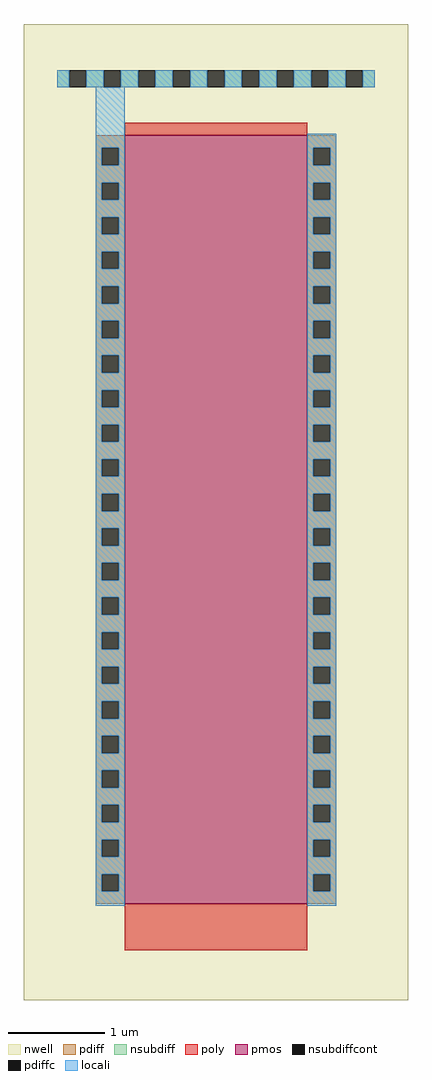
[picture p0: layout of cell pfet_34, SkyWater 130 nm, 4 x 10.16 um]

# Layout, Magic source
magic
tech sky130A
<< nwell >>
rect 0 0 400 1016
<< pmos >>
rect 105 100 295 900
<< pdiff >>
rect 75 887 105 900
rect 75 869 81 887
rect 99 869 105 887
rect 75 851 105 869
rect 75 833 81 851
rect 99 833 105 851
rect 75 815 105 833
rect 75 797 81 815
rect 99 797 105 815
rect 75 779 105 797
rect 75 761 81 779
rect 99 761 105 779
rect 75 743 105 761
rect 75 725 81 743
rect 99 725 105 743
rect 75 707 105 725
rect 75 689 81 707
rect 99 689 105 707
rect 75 671 105 689
rect 75 653 81 671
rect 99 653 105 671
rect 75 635 105 653
rect 75 617 81 635
rect 99 617 105 635
rect 75 599 105 617
rect 75 581 81 599
rect 99 581 105 599
rect 75 563 105 581
rect 75 545 81 563
rect 99 545 105 563
rect 75 527 105 545
rect 75 509 81 527
rect 99 509 105 527
rect 75 491 105 509
rect 75 473 81 491
rect 99 473 105 491
rect 75 455 105 473
rect 75 437 81 455
rect 99 437 105 455
rect 75 419 105 437
rect 75 401 81 419
rect 99 401 105 419
rect 75 383 105 401
rect 75 365 81 383
rect 99 365 105 383
rect 75 347 105 365
rect 75 329 81 347
rect 99 329 105 347
rect 75 311 105 329
rect 75 293 81 311
rect 99 293 105 311
rect 75 275 105 293
rect 75 257 81 275
rect 99 257 105 275
rect 75 239 105 257
rect 75 221 81 239
rect 99 221 105 239
rect 75 203 105 221
rect 75 185 81 203
rect 99 185 105 203
rect 75 167 105 185
rect 75 149 81 167
rect 99 149 105 167
rect 75 131 105 149
rect 75 113 81 131
rect 99 113 105 131
rect 75 100 105 113
rect 295 887 325 900
rect 295 869 301 887
rect 319 869 325 887
rect 295 851 325 869
rect 295 833 301 851
rect 319 833 325 851
rect 295 815 325 833
rect 295 797 301 815
rect 319 797 325 815
rect 295 779 325 797
rect 295 761 301 779
rect 319 761 325 779
rect 295 743 325 761
rect 295 725 301 743
rect 319 725 325 743
rect 295 707 325 725
rect 295 689 301 707
rect 319 689 325 707
rect 295 671 325 689
rect 295 653 301 671
rect 319 653 325 671
rect 295 635 325 653
rect 295 617 301 635
rect 319 617 325 635
rect 295 599 325 617
rect 295 581 301 599
rect 319 581 325 599
rect 295 563 325 581
rect 295 545 301 563
rect 319 545 325 563
rect 295 527 325 545
rect 295 509 301 527
rect 319 509 325 527
rect 295 491 325 509
rect 295 473 301 491
rect 319 473 325 491
rect 295 455 325 473
rect 295 437 301 455
rect 319 437 325 455
rect 295 419 325 437
rect 295 401 301 419
rect 319 401 325 419
rect 295 383 325 401
rect 295 365 301 383
rect 319 365 325 383
rect 295 347 325 365
rect 295 329 301 347
rect 319 329 325 347
rect 295 311 325 329
rect 295 293 301 311
rect 319 293 325 311
rect 295 275 325 293
rect 295 257 301 275
rect 319 257 325 275
rect 295 239 325 257
rect 295 221 301 239
rect 319 221 325 239
rect 295 203 325 221
rect 295 185 301 203
rect 319 185 325 203
rect 295 167 325 185
rect 295 149 301 167
rect 319 149 325 167
rect 295 131 325 149
rect 295 113 301 131
rect 319 113 325 131
rect 295 100 325 113
<< pdiffc >>
rect 81 869 99 887
rect 81 833 99 851
rect 81 797 99 815
rect 81 761 99 779
rect 81 725 99 743
rect 81 689 99 707
rect 81 653 99 671
rect 81 617 99 635
rect 81 581 99 599
rect 81 545 99 563
rect 81 509 99 527
rect 81 473 99 491
rect 81 437 99 455
rect 81 401 99 419
rect 81 365 99 383
rect 81 329 99 347
rect 81 293 99 311
rect 81 257 99 275
rect 81 221 99 239
rect 81 185 99 203
rect 81 149 99 167
rect 81 113 99 131
rect 301 869 319 887
rect 301 833 319 851
rect 301 797 319 815
rect 301 761 319 779
rect 301 725 319 743
rect 301 689 319 707
rect 301 653 319 671
rect 301 617 319 635
rect 301 581 319 599
rect 301 545 319 563
rect 301 509 319 527
rect 301 473 319 491
rect 301 437 319 455
rect 301 401 319 419
rect 301 365 319 383
rect 301 329 319 347
rect 301 293 319 311
rect 301 257 319 275
rect 301 221 319 239
rect 301 185 319 203
rect 301 149 319 167
rect 301 113 319 131
<< nsubdiff >>
rect 35 950 47 968
rect 65 950 83 968
rect 101 950 119 968
rect 137 950 155 968
rect 173 950 191 968
rect 209 950 227 968
rect 245 950 263 968
rect 281 950 299 968
rect 317 950 335 968
rect 353 950 365 968
<< nsubdiffcont >>
rect 47 950 65 968
rect 83 950 101 968
rect 119 950 137 968
rect 155 950 173 968
rect 191 950 209 968
rect 227 950 245 968
rect 263 950 281 968
rect 299 950 317 968
rect 335 950 353 968
<< poly >>
rect 105 900 295 913
rect 105 52 295 100
<< locali >>
rect 35 950 47 968
rect 65 950 83 968
rect 101 950 119 968
rect 137 950 155 968
rect 173 950 191 968
rect 209 950 227 968
rect 245 950 263 968
rect 281 950 299 968
rect 317 950 335 968
rect 353 950 365 968
rect 75 887 105 950
rect 75 869 81 887
rect 99 869 105 887
rect 75 851 105 869
rect 75 833 81 851
rect 99 833 105 851
rect 75 815 105 833
rect 75 797 81 815
rect 99 797 105 815
rect 75 779 105 797
rect 75 761 81 779
rect 99 761 105 779
rect 75 743 105 761
rect 75 725 81 743
rect 99 725 105 743
rect 75 707 105 725
rect 75 689 81 707
rect 99 689 105 707
rect 75 671 105 689
rect 75 653 81 671
rect 99 653 105 671
rect 75 635 105 653
rect 75 617 81 635
rect 99 617 105 635
rect 75 599 105 617
rect 75 581 81 599
rect 99 581 105 599
rect 75 563 105 581
rect 75 545 81 563
rect 99 545 105 563
rect 75 527 105 545
rect 75 509 81 527
rect 99 509 105 527
rect 75 491 105 509
rect 75 473 81 491
rect 99 473 105 491
rect 75 455 105 473
rect 75 437 81 455
rect 99 437 105 455
rect 75 419 105 437
rect 75 401 81 419
rect 99 401 105 419
rect 75 383 105 401
rect 75 365 81 383
rect 99 365 105 383
rect 75 347 105 365
rect 75 329 81 347
rect 99 329 105 347
rect 75 311 105 329
rect 75 293 81 311
rect 99 293 105 311
rect 75 275 105 293
rect 75 257 81 275
rect 99 257 105 275
rect 75 239 105 257
rect 75 221 81 239
rect 99 221 105 239
rect 75 203 105 221
rect 75 185 81 203
rect 99 185 105 203
rect 75 167 105 185
rect 75 149 81 167
rect 99 149 105 167
rect 75 131 105 149
rect 75 113 81 131
rect 99 113 105 131
rect 75 98 105 113
rect 295 887 325 902
rect 295 869 301 887
rect 319 869 325 887
rect 295 851 325 869
rect 295 833 301 851
rect 319 833 325 851
rect 295 815 325 833
rect 295 797 301 815
rect 319 797 325 815
rect 295 779 325 797
rect 295 761 301 779
rect 319 761 325 779
rect 295 743 325 761
rect 295 725 301 743
rect 319 725 325 743
rect 295 707 325 725
rect 295 689 301 707
rect 319 689 325 707
rect 295 671 325 689
rect 295 653 301 671
rect 319 653 325 671
rect 295 635 325 653
rect 295 617 301 635
rect 319 617 325 635
rect 295 599 325 617
rect 295 581 301 599
rect 319 581 325 599
rect 295 563 325 581
rect 295 545 301 563
rect 319 545 325 563
rect 295 527 325 545
rect 295 509 301 527
rect 319 509 325 527
rect 295 491 325 509
rect 295 473 301 491
rect 319 473 325 491
rect 295 455 325 473
rect 295 437 301 455
rect 319 437 325 455
rect 295 419 325 437
rect 295 401 301 419
rect 319 401 325 419
rect 295 383 325 401
rect 295 365 301 383
rect 319 365 325 383
rect 295 347 325 365
rect 295 329 301 347
rect 319 329 325 347
rect 295 311 325 329
rect 295 293 301 311
rect 319 293 325 311
rect 295 275 325 293
rect 295 257 301 275
rect 319 257 325 275
rect 295 239 325 257
rect 295 221 301 239
rect 319 221 325 239
rect 295 203 325 221
rect 295 185 301 203
rect 319 185 325 203
rect 295 167 325 185
rect 295 149 301 167
rect 319 149 325 167
rect 295 131 325 149
rect 295 113 301 131
rect 319 113 325 131
rect 295 98 325 113
<< end >>
